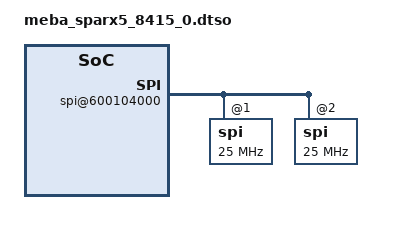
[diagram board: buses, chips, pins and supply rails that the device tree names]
// Copyright (c) 2004-2020 Microchip Technology Inc. and its subsidiaries.
// SPDX-License-Identifier: MIT

/dts-v1/;
/plugin/;

/ {
	fragment@0 {
		target-path = "/";
		__overlay__ {
			meba {
				// Everthing is empty here on purpose as this is
				// just a place holder for u-boot.
			};
		};
	};

	fragment@1 {
		target-path = "/axi@600000000/spi@600104000";
		__overlay__ {
			rx-sample-delay-ns = <35>;  /* Tune for speed */
			spi@1 {
				spi-max-frequency = <25000000>;  /* 25 MHz */
			};

			spi@2 {
				spi-max-frequency = <25000000>;  /* 25 MHz */
			};
		};
	};
};

